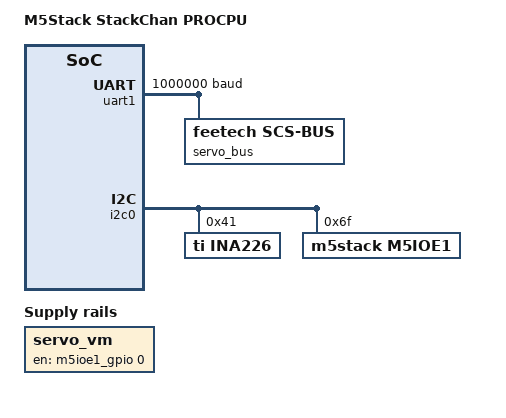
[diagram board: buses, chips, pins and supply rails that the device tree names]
/*
 * Copyright (c) 2024 TOKITA Hiroshi
 * Copyright (c) 2026 Kenta IDA <fuga@fugafuga.org>
 *
 * SPDX-License-Identifier: Apache-2.0
 */

/dts-v1/;

/*
 * The StackChan Core main unit shares its design with the CoreS3, so reuse
 * its board definition and override only what the robot body changes.
 */
#include "../m5stack_cores3/m5stack_cores3_procpu.dts"

/ {
	model = "M5Stack StackChan PROCPU";
	compatible = "m5stack,stackchan";

	/*
	 * Servo motor supply. VM_EN drives a transistor base without a series
	 * resistor, so it is pulled up by the M5IOE1 rather than driven high.
	 */
	servo_vm: servo-vm {
		compatible = "regulator-fixed";
		regulator-name = "servo_vm";
		enable-gpios = <&m5ioe1_gpio 0 (GPIO_ACTIVE_HIGH | GPIO_OPEN_DRAIN | GPIO_PULL_UP)>;
		startup-delay-us = <200000>;
		regulator-boot-on;
	};
};

/*
 * The M-Bus is occupied by the robot body and not exposed, so the M-Bus
 * connector nexus does not apply to this board.
 */
/delete-node/ &m5stack_mbus_header;

/* UART1 drives the two SCS0009 serial servos in the body (GPIO6 TX / GPIO7 RX). */
&uart1_default {
	group1 {
		pinmux = <UART1_TX_GPIO6>;
	};

	group2 {
		pinmux = <UART1_RX_GPIO7>;
	};
};

&uart1 {
	current-speed = <1000000>;

	servo_bus: servo-bus {
		compatible = "feetech,scs-bus";
		#address-cells = <1>;
		#size-cells = <0>;

		servo_yaw: servo@1 {
			compatible = "feetech,scs0009";
			reg = <1>;
		};

		servo_pitch: servo@2 {
			compatible = "feetech,scs0009";
			reg = <2>;
		};
	};
};

/* PORT.C (Grove) of the body is wired to GPIO17 (TX) / GPIO18 (RX). */
&uart2_default {
	group1 {
		pinmux = <UART2_TX_GPIO17>;
	};

	group2 {
		pinmux = <UART2_RX_GPIO18>;
	};
};

&i2c0 {
	/* Battery monitor in the body (10 mOhm shunt, 550 mAh cell) */
	ina226: ina226@41 {
		compatible = "ti,ina226";
		reg = <0x41>;
		rshunt-micro-ohms = <10000>;
		/* max expected current ~3 A / 2^15 */
		current-lsb-microamps = <100>;
	};

	/* IO1: servo supply enable, IO14: RGB LEDs */
	m5ioe1: io-expander@6f {
		compatible = "m5stack,m5ioe1";
		reg = <0x6f>;

		m5ioe1_gpio: gpio {
			compatible = "m5stack,m5ioe1-gpio";
			gpio-controller;
			#gpio-cells = <2>;
			ngpios = <14>;
		};
	};
};

/* LCD backlight: the PMIC default leaves it off */
&vcc_bl {
	regulator-init-microvolt = <3300000>;
};
